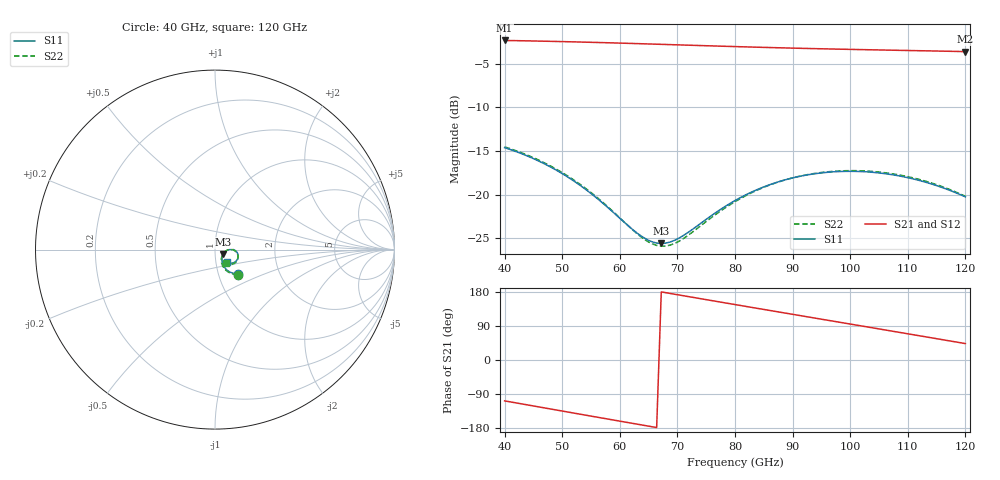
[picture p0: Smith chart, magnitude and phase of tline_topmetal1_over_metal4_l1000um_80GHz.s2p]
#  GHZ S DB R 50
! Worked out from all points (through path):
!   101 points, 40 GHz to 120 GHz, reference 50 ohm
!   highest |S21| = -2.34 dB at 40 GHz (marker M1); lowest = -3.6 dB at 120 GHz (marker M2)
!   group delay of S21, straight-line fit = 7.23 ps
!   lowest |S11| = -25.6 dB at 67.2 GHz (marker M3), VSWR 1.11, Z = 54.8 - j2.77 ohm
!   |S11| at or under -10 dB: start of sweep to end of sweep
!   |S22| runs from -25.9 to -14.5 dB; largest |S21 - S12| = 8.8e-14
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40  -14.61 -46.7  -2.34 -107.9  -2.34 -107.9  -14.53 -47.7
43.2  -15.37 -51.4  -2.38 -116.4  -2.38 -116.4  -15.27 -52.6
46.4  -16.30 -55.7  -2.42 -125.0  -2.42 -125.0  -16.19 -57.1
50.4  -17.74 -60.0  -2.48 -135.7  -2.48 -135.7  -17.63 -61.8
53.6  -19.16 -61.9  -2.53 -144.3  -2.53 -144.3  -19.05 -64.2
58.4  -21.75 -60.4  -2.61 -157.1  -2.61 -157.1  -21.67 -63.4
63.2  -24.49 -48.5  -2.71 -169.8  -2.71 -169.8  -24.57 -52.3
65.6  -25.39 -37.3  -2.75 -176.1  -2.75 -176.1  -25.62 -41.0
67.2  -25.58 -28.7  -2.79 179.7  -2.79 179.7  -25.89 -32.0
68.8  -25.41 -20.3  -2.82 175.5  -2.82 175.5  -25.76 -23.1
70.4  -24.93 -13.1  -2.85 171.3  -2.85 171.3  -25.28 -15.2
75.2  -22.73 -0.8  -2.95 158.8  -2.95 158.8  -22.97 -2.0
80  -20.67 1.2  -3.04 146.3  -3.04 146.3  -20.80 0.1
83.2  -19.60 -0.5  -3.10 138.1  -3.10 138.1  -19.68 -1.7
87.2  -18.59 -4.3  -3.17 127.8  -3.17 127.8  -18.62 -5.8
93.6  -17.62 -12.6  -3.27 111.3  -3.27 111.3  -17.59 -14.6
97.6  -17.36 -18.4  -3.33 101.0  -3.33 101.0  -17.30 -20.8
100.8  -17.33 -23.2  -3.37 92.8  -3.37 92.8  -17.25 -25.8
104  -17.44 -27.9  -3.41 84.6  -3.41 84.6  -17.34 -30.9
107.2  -17.70 -32.4  -3.45 76.4  -3.45 76.4  -17.59 -35.9
113.6  -18.67 -40.5  -3.53 59.9  -3.53 59.9  -18.55 -45.0
120  -20.24 -45.9  -3.62 43.4  -3.62 43.4  -20.19 -51.9
